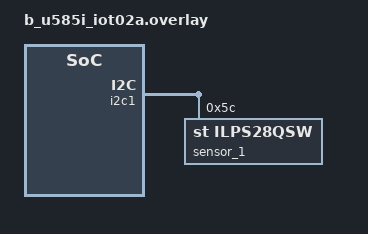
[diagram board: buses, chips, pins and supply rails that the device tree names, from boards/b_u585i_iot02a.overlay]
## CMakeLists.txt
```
cmake_minimum_required(VERSION 3.20.0)

set(ZEPHYR_EXTRA_MODULES "${CMAKE_SOURCE_DIR}/../../modules/ilps28qsw")
find_package(Zephyr REQUIRED HINTS $ENV{ZEPHYR_BASE})
project(i2c_driver)

target_sources(app PRIVATE src/main.c)

target_compile_options(app PRIVATE
    -Wall
    -Wextra
    -Werror
)
```

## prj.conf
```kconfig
CONFIG_LOG=y
CONFIG_ILPS28QSW=y
CONFIG_SENSOR=y
CONFIG_SENSOR_LOG_LEVEL_DBG=y
CONFIG_REQUIRES_FLOAT_PRINTF=y
```

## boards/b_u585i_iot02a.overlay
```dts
/ {
    aliases {
        my-sensor = &sensor_1;
    };
};

&i2c1 {
	sensor_1: ilps28qsw@5c {
		compatible = "st,ilps28qsw";
		reg = <0x5c>;
		scale = <1>;
	};
};
```

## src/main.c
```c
#include <stdio.h>
#include <zephyr/kernel.h>
#include <zephyr/device.h>
#include <zephyr/drivers/sensor.h>

// Settings
static const int32_t sleep_time_ms = 1000;
static const struct device *barometer = DEVICE_DT_GET(DT_ALIAS(my_sensor));

static const char *now_str(void)
{
	static char buf[16]; /* ...HH:MM:SS.MMM */
	uint32_t now = k_uptime_get_32();
	unsigned int ms = now % MSEC_PER_SEC;
	unsigned int s;
	unsigned int min;
	unsigned int h;

	now /= MSEC_PER_SEC;
	s = now % 60U;
	now /= 60U;
	min = now % 60U;
	now /= 60U;
	h = now;

	snprintf(buf, sizeof(buf), "%u:%02u:%02u.%03u",
		 h, min, s, ms);
	return buf;
}

int main(void)
{
    int ret;
    double pressure, temperature;

    // Make sure that the button was initialized
    if (!device_is_ready(barometer)) {
        printk("Error: barometer is not ready\r\n");
        return 0;
    }

    // Do forever
    while (1) {
		struct sensor_value val;

        // Trigger sampling
		ret = sensor_sample_fetch(barometer);
		if (ret) {
			printk("sensor_sample_fetch error: %d\n", ret);
			continue;
		}

        // Read pressure
		ret = sensor_channel_get(barometer, SENSOR_CHAN_PRESS, &val);
		if (ret) {
			printk("sensor_channel_get error: %d\n", ret);
			continue;
		}
        pressure = sensor_value_to_double(&val);

        // Read temperature
		ret = sensor_channel_get(barometer, SENSOR_CHAN_AMBIENT_TEMP, &val);
		if (ret) {
			printk("sensor_channel_get error: %d\n", ret);
			continue;
		}
        temperature = sensor_value_to_double(&val);

        // Print values
		printk("[%s] pressure: %g kPa, temperature: %g C\r\n", now_str(), pressure, temperature);

		// Sleep
        k_msleep(sleep_time_ms);
	}

    return 0;
}
```
